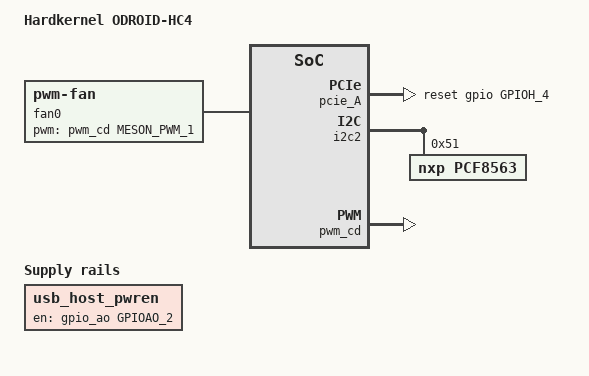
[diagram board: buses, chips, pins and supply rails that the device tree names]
#include <include/dt-bindings/thermal/thermal.h>
#include "sm1_s905x3_odroid_c4.dts"

/{
	model = "Hardkernel ODROID-HC4";
	coreelec-dt-id = "sm1_s905x3_odroid_hc4";

	fan0: pwm-fan {
		compatible = "pwm-fan";
		status = "okay";
		#cooling-cells = <2>;
		cooling-min-state = <0>;
		cooling-max-state = <3>;
		cooling-levels = <0 128 180 240>;
		pwms = <&pwm_cd MESON_PWM_1 40000 0>;
	};

	usb_host_pwren: usb_host_pwren {
		compatible = "regulator-fixed";
		enable-active-high;
		gpio = <&gpio_ao GPIOAO_2 GPIO_ACTIVE_HIGH>;
		regulator-name = "usb_host_pwren";
		regulator-always-on;
		regulator-boot-on;
	};
};

&pcie_A {
	reset-gpio = <&gpio GPIOH_4 GPIO_ACTIVE_HIGH>;
	status = "okay";
};

&usb3_phy_v2 {
	status = "disabled";
};

&sd_emmc_c {
	status = "disabled";
};

&dwc2_a {
	port-type = <1>;
	port-id-mode = <1>; /** 0: hardware, 1: sw_host, 2: sw_slave*/
	controller-type = <1>;
};

&i2c2 {
	pcf8563: rtc@51 {
		compatible = "nxp,pcf8563";
		reg = <0x51>;
	};
};

&pwm_cd {
	status = "okay";
	pinctrl-names = "default";
	pinctrl-0 = <&pwm_d_pins2>;
};

&soc_thermal {
	trips {
		pcontrol: trip-point@1 {
			temperature = <80000>;
			hysteresis = <5000>;
			type = "passive";
		};
		phot: trip-point@2 {
			temperature = <90000>;
			hysteresis = <5000>;
			type = "hot";
		};
		fan_low: trip-point@4 {
			temperature = <65000>;
			hysteresis = <5000>;
			type = "active";
		};
		fan_mid: trip-point@5 {
			temperature = <75000>;
			hysteresis = <5000>;
			type = "active";
		};
		fan_high: trip-point@6 {
			temperature = <90000>;
			hysteresis = <5000>;
			type = "active";
		};
	};

	cooling-maps {
		fan_cooling_map0 {
			trip = <&fan_low>;
			cooling-device = <&fan0 THERMAL_NO_LIMIT 1>;
			contribution = <1024>;
		};
		fan_cooling_map1 {
			trip = <&fan_mid>;
			cooling-device = <&fan0 THERMAL_NO_LIMIT 2>;
			contribution = <1024>;
		};
		fan_cooling_map2 {
			trip = <&fan_high>;
			cooling-device = <&fan0 3 THERMAL_NO_LIMIT>;
			contribution = <1024>;
		};
	};
};
